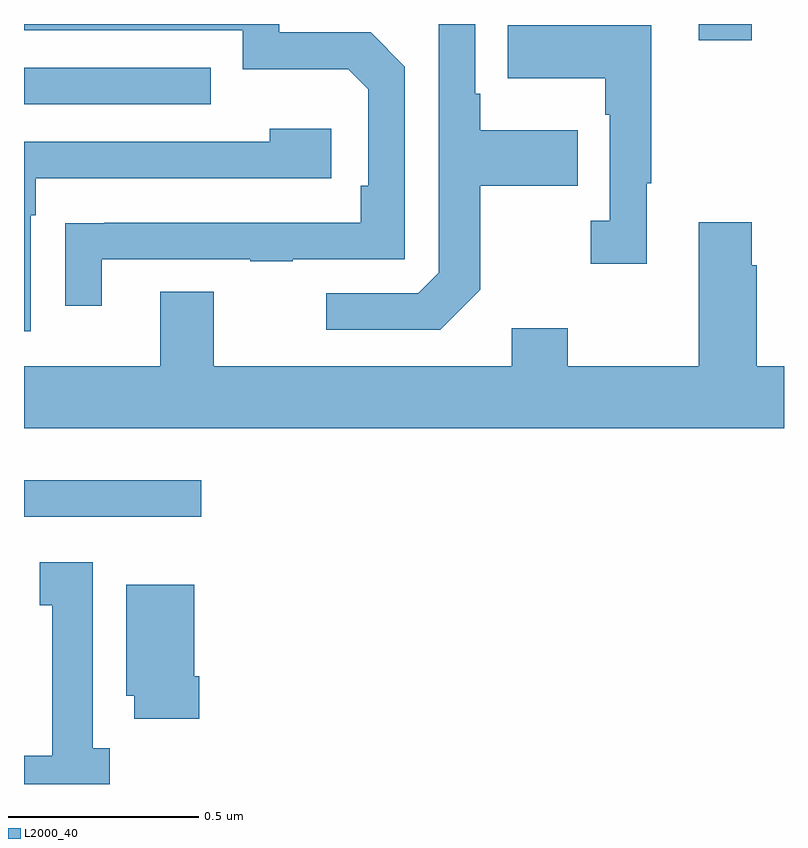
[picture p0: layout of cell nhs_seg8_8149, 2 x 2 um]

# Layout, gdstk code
import gdstk
lib = gdstk.Library(unit=1e-6, precision=1e-09)
def R(c, l, rs):  # rectangles x0, y0, x1, y1
    for r in rs: c.add(gdstk.rectangle(r[:2], r[2:], *l))
def P(c, l, *ps):  # polygons
    for p in ps: c.add(gdstk.Polygon(p, *l))
L2000_40 = (2000, 40)

nhs_seg8_8149 = lib.new_cell('nhs_seg8_8149')
R(nhs_seg8_8149, L2000_40, [(219,1113.603,219.466,1113.7), (219,1114.689,219.491,1114.785), (220.775,1114.857,220.915,1114.9)])
P(nhs_seg8_8149, L2000_40, [(219.205,1114.281),(219.595,1114.281),(219.595,1114.276),(219.707,1114.276),(219.707,1114.281),(220.002,1114.281),(220.002,1114.788),(219.912,1114.878),(219.672,1114.878),(219.672,1114.9),(219,1114.9),(219,1114.884),(219.576,1114.884),(219.576,1114.781),(219.853,1114.781),(219.906,1114.728),(219.906,1114.474),(219.886,1114.474),(219.886,1114.377),(219.211,1114.377),(219.211,1114.376),(219.109,1114.376),(219.109,1114.158),(219.205,1114.158)],
  [(220.201,1114.201),(220.201,1114.474),(220.457,1114.474),(220.457,1114.621),(220.201,1114.621),(220.201,1114.717),(220.188,1114.717),(220.188,1114.9),(220.092,1114.9),(220.092,1114.245),(220.038,1114.191),(219.795,1114.191),(219.795,1114.095),(220.095,1114.095)],
  [(220.639,1114.481),(220.651,1114.481),(220.651,1114.897),(220.273,1114.897),(220.273,1114.757),(220.53,1114.757),(220.53,1114.661),(220.542,1114.661),(220.542,1114.382),(220.491,1114.382),(220.491,1114.269),(220.639,1114.269)],
  [(219.018,1114.397),(219.031,1114.397),(219.031,1114.494),(219.808,1114.494),(219.808,1114.624),(219.647,1114.624),(219.647,1114.59),(219,1114.59),(219,1114.092),(219.018,1114.092)],
  [(221,1114),(220.928,1114),(220.928,1114.265),(220.915,1114.265),(220.915,1114.378),(220.775,1114.378),(220.775,1114),(220.431,1114),(220.431,1114.099),(220.283,1114.099),(220.283,1114),(219.499,1114),(219.499,1114.195),(219.359,1114.195),(219.359,1114),(219,1114),(219,1113.836),(221,1113.836)],
  [(219.226,1112.994),(219.181,1112.994),(219.181,1113.484),(219.041,1113.484),(219.041,1113.371),(219.074,1113.371),(219.074,1112.974),(219,1112.974),(219,1112.9),(219.226,1112.9)],
  [(219.461,1113.184),(219.448,1113.184),(219.448,1113.424),(219.269,1113.424),(219.269,1113.132),(219.29,1113.132),(219.29,1113.072),(219.461,1113.072)])

lib.write_gds('nhs_seg8_8149.gds')
